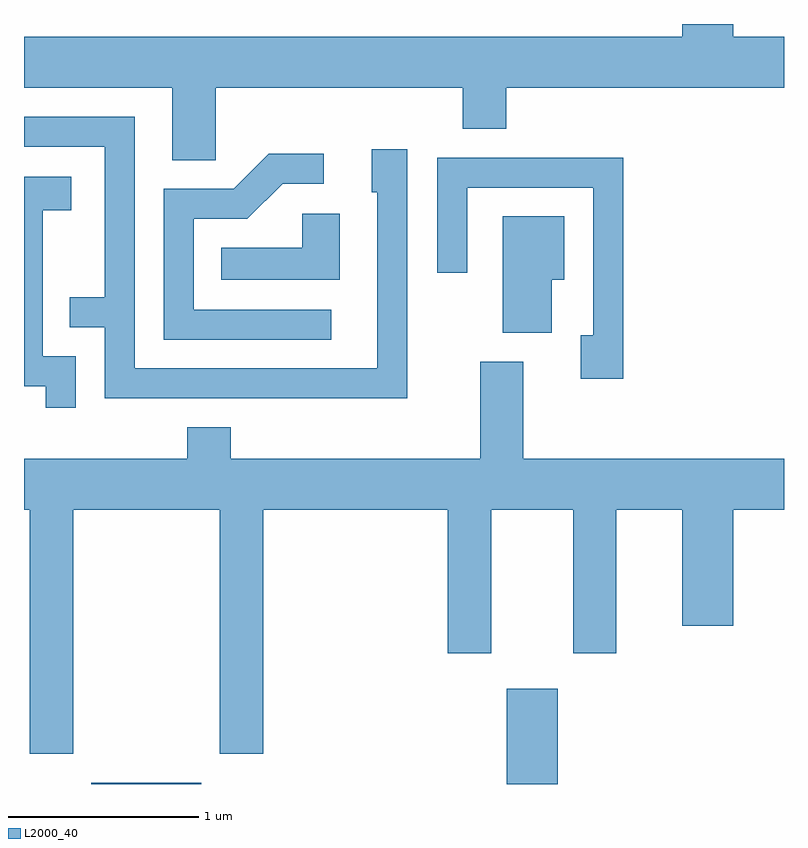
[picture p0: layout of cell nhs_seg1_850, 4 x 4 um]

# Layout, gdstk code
import gdstk
lib = gdstk.Library(unit=1e-6, precision=1e-09)
def R(c, l, rs):  # rectangles x0, y0, x1, y1
    for r in rs: c.add(gdstk.rectangle(r[:2], r[2:], *l))
def P(c, l, *ps):  # polygons
    for p in ps: c.add(gdstk.Polygon(p, *l))
L2000_40 = (2000, 40)

nhs_seg1_850 = lib.new_cell('nhs_seg1_850')
R(nhs_seg1_850, L2000_40, [(211.966,873.712,212.544,873.719), (214.151,873.712,214.419,874.214)])
P(nhs_seg1_850, L2000_40, [(212.619,877.376),(213.921,877.376),(213.921,877.161),(214.149,877.161),(214.149,877.376),(215.611,877.376),(215.611,877.644),(215.344,877.644),(215.344,877.712),(215.076,877.712),(215.076,877.644),(211.611,877.644),(211.611,877.376),(212.391,877.376),(212.391,876.996),(212.619,876.996)],
  [(213.629,877.054),(213.441,877.054),(213.441,876.826),(213.471,876.826),(213.471,875.899),(212.194,875.899),(212.194,877.224),(211.611,877.224),(211.611,877.066),(212.036,877.066),(212.036,876.274),(211.853,876.274),(211.853,876.116),(212.036,876.116),(212.036,875.741),(213.629,875.741)],
  [(213.228,876.209),(212.504,876.209),(212.504,876.686),(212.787,876.686),(212.972,876.871),(213.188,876.871),(213.188,877.029),(212.899,877.029),(212.714,876.844),(212.346,876.844),(212.346,876.051),(213.228,876.051)],
  [(214.764,877.009),(213.786,877.009),(213.786,876.403),(213.944,876.403),(213.944,876.851),(214.606,876.851),(214.606,876.074),(214.541,876.074),(214.541,875.846),(214.764,875.846)],
  [(211.884,875.964),(211.709,875.964),(211.709,876.731),(211.859,876.731),(211.859,876.909),(211.611,876.909),(211.611,875.806),(211.726,875.806),(211.726,875.693),(211.884,875.693)],
  [(213.274,876.714),(213.076,876.714),(213.076,876.534),(212.648,876.534),(212.648,876.366),(213.274,876.366)],
  [(214.389,876.366),(214.454,876.366),(214.454,876.699),(214.131,876.699),(214.131,876.086),(214.389,876.086)],
  [(211.869,875.156),(212.641,875.156),(212.641,873.871),(212.869,873.871),(212.869,875.156),(213.841,875.156),(213.841,874.401),(214.069,874.401),(214.069,875.156),(214.501,875.156),(214.501,874.401),(214.729,874.401),(214.729,875.156),(215.076,875.156),(215.076,874.546),(215.344,874.546),(215.344,875.156),(215.611,875.156),(215.611,875.424),(214.239,875.424),(214.239,875.934),(214.011,875.934),(214.011,875.424),(212.699,875.424),(212.699,875.589),(212.471,875.589),(212.471,875.424),(211.611,875.424),(211.611,875.156),(211.641,875.156),(211.641,873.871),(211.869,873.871)])

lib.write_gds('nhs_seg1_850.gds')
